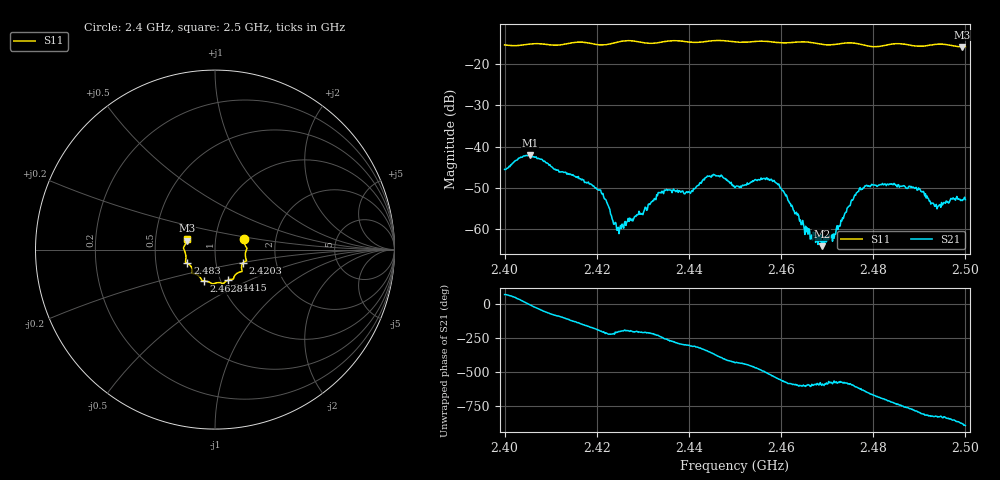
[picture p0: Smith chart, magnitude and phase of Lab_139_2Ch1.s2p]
# Hz S RI R 50
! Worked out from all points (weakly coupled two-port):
!   601 points, 2.4 GHz to 2.5 GHz, reference 50 ohm
!   highest |S21| = -42.11 dB at 2.4055 GHz (marker M1); lowest = -64.2 dB at 2.4688 GHz (marker M2)
!   lowest |S11| = -15.8 dB at 2.4993 GHz (marker M3), VSWR 1.39, Z = 36.4 + j3.67 ohm
!   |S11| at or under -10 dB: start of sweep to end of sweep
!   S12 and S22 are empty: the file has one direction only
!   S11 on the Smith chart (normalised r, x): 2.4 GHz: 1.38, +0.16; 2.4203 GHz: 1.35, -0.21; 2.4415 GHz: 1.09, -0.38; 2.4628 GHz: 0.83, -0.30; 2.483 GHz: 0.73, -0.11; 2.5 GHz: 0.73, +0.09
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2.4e9  0.1624 0.0569  0.00163 0.00502  0 0  0 0
2.4055e9  0.1758 0.0112  0.00783 -0.000499  0 0  0 0
2.416667e9  0.1751 -0.062  -0.00321 -0.00226  0 0  0 0
2.420333e9  0.1559 -0.0744  -0.00292 0.000522  0 0  0 0
2.424833e9  0.1498 -0.1136  -0.000823 0.000302  0 0  0 0
2.429833e9  0.1342 -0.1262  -0.00136 0.000713  0 0  0 0
2.433333e9  0.108 -0.1477  -0.00181 0.00209  0 0  0 0
2.4415e9  0.0735 -0.1693  0.00224 0.00226  0 0  0 0
2.4455e9  0.05 -0.1875  0.00452 -0.000565  0 0  0 0
2.45e9  0.0297 -0.1845  0.00105 -0.00297  0 0  0 0
2.458167e9  -0.025 -0.185  -0.00367 -0.000882  0 0  0 0
2.462833e9  -0.0621 -0.1743  -0.00104 0.00129  0 0  0 0
2.466667e9  -0.0753 -0.1676  -0.00055 0.000641  0 0  0 0
2.468833e9  -0.0841 -0.1533  -0.000334 0.000518  0 0  0 0
2.471333e9  -0.1048 -0.138  -0.000701 0.00051  0 0  0 0
2.476833e9  -0.1255 -0.125  -0.000574 0.00279  0 0  0 0
2.483e9  -0.1539 -0.0766  0.00341 0.000737  0 0  0 0
2.483333e9  -0.1562 -0.0754  0.00338 0.000549  0 0  0 0
2.489667e9  -0.1623 -0.0337  0.00087 -0.00284  0 0  0 0
2.493667e9  -0.1748 0.0052  -0.000537 -0.00191  0 0  0 0
2.499333e9  -0.1554 0.049  -0.00208 -0.000758  0 0  0 0
2.5e9  -0.1536 0.0575  -0.00225 -0.000293  0 0  0 0
